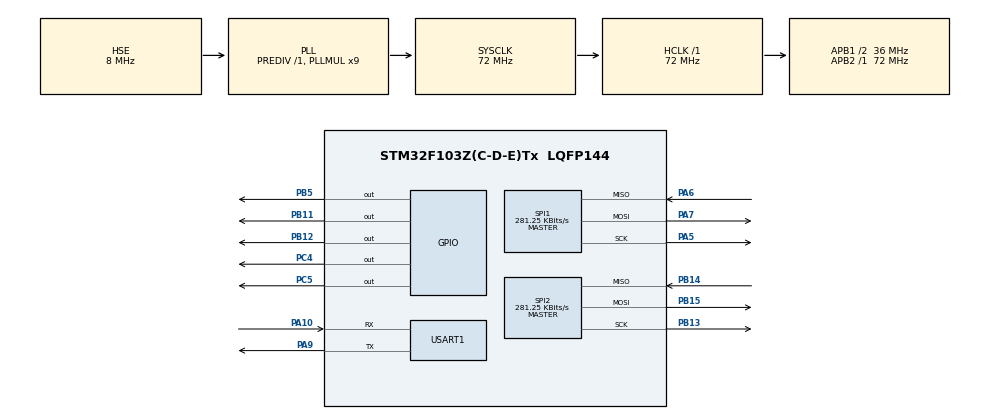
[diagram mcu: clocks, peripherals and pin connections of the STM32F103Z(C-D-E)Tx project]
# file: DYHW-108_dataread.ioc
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Mcu.Family=STM32F1
Mcu.Name=STM32F103Z(C-D-E)Tx
Mcu.Package=LQFP144
NVIC.PriorityGroup=NVIC_PRIORITYGROUP_4
OSC_IN.Mode=HSE-External-Oscillator
OSC_IN.Signal=RCC_OSC_IN
OSC_OUT.Mode=HSE-External-Oscillator
OSC_OUT.Signal=RCC_OSC_OUT
PA10.Mode=Asynchronous
PA10.Signal=USART1_RX
PA13.Mode=Serial_Wire
PA13.Signal=SYS_JTMS-SWDIO
PA14.Mode=Serial_Wire
PA14.Signal=SYS_JTCK-SWCLK
PA5.Mode=Full_Duplex_Master
PA5.Signal=SPI1_SCK
PA6.Mode=Full_Duplex_Master
PA6.Signal=SPI1_MISO
PA7.Mode=Full_Duplex_Master
PA7.Signal=SPI1_MOSI
PA9.Mode=Asynchronous
PA9.Signal=USART1_TX
PB11.Signal=GPIO_Output
PB12.Signal=GPIO_Output
PB13.Mode=Full_Duplex_Master
PB13.Signal=SPI2_SCK
PB14.Mode=Full_Duplex_Master
PB14.Signal=SPI2_MISO
PB15.Mode=Full_Duplex_Master
PB15.Signal=SPI2_MOSI
PB5.Signal=GPIO_Output
PC4.Signal=GPIO_Output
PC5.Signal=GPIO_Output
ProjectManager.HeapSize=0x200
ProjectManager.StackSize=0x400
ProjectManager.TargetToolchain=MDK-ARM V5.27
RCC.AHBFreq_Value=72000000
RCC.APB1CLKDivider=RCC_HCLK_DIV2
RCC.APB1Freq_Value=36000000
RCC.APB1TimFreq_Value=72000000
RCC.APB2Freq_Value=72000000
RCC.APB2TimFreq_Value=72000000
RCC.HCLKFreq_Value=72000000
RCC.PLLMUL=RCC_PLL_MUL9
RCC.PLLSourceVirtual=RCC_PLLSOURCE_HSE
RCC.SYSCLKFreq_VALUE=72000000
RCC.SYSCLKSource=RCC_SYSCLKSOURCE_PLLCLK
RCC.USBFreq_Value=72000000
SPI1.BaudRatePrescaler=SPI_BAUDRATEPRESCALER_256
SPI1.CLKPhase=SPI_PHASE_2EDGE
SPI1.CalculateBaudRate=281.25 KBits/s
SPI1.Direction=SPI_DIRECTION_2LINES
SPI1.Mode=SPI_MODE_MASTER
SPI1.VirtualType=VM_MASTER
SPI2.BaudRatePrescaler=SPI_BAUDRATEPRESCALER_128
SPI2.CLKPhase=SPI_PHASE_2EDGE
SPI2.CLKPolarity=SPI_POLARITY_LOW
SPI2.CRCCalculation=SPI_CRCCALCULATION_DISABLE
SPI2.CalculateBaudRate=281.25 KBits/s
SPI2.Direction=SPI_DIRECTION_2LINES
SPI2.Mode=SPI_MODE_MASTER
SPI2.VirtualType=VM_MASTER
USART1.VirtualMode=VM_ASYNC
board=custom

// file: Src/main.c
/* USER CODE BEGIN Header */
/**
  ******************************************************************************
  * @file           : main.c
  * @brief          : Main program body
  ******************************************************************************
  * @attention
  *
  * <h2><center>&copy; Copyright (c) 2022 STMicroelectronics.
  * All rights reserved.</center></h2>
  *
  * This software component is licensed by ST under BSD 3-Clause license,
  * the "License"; You may not use this file except in compliance with the
  * License. You may obtain a copy of the License at:
  *                        opensource.org/licenses/BSD-3-Clause
  *
  ******************************************************************************
  */
/* USER CODE END Header */

#include "main.h"
#include "spi.h"
#include "usart.h"
#include "gpio.h"

/* USER CODE BEGIN Includes */
#include "ads1256.h"
#include "stdio.h"
/* USER CODE END Includes */

void SystemClock_Config(void);

int main(void)
{
  /* USER CODE BEGIN 1 */
  int Adc[5];
	float Volts[4];
  /* USER CODE END 1 */

  /* MCU Configuration--------------------------------------------------------*/

  /* Reset of all peripherals, Initializes the Flash interface and the Systick. */
  HAL_Init();

  /* Configure the system clock */
  SystemClock_Config();

  /* Initialize all configured peripherals */
  MX_GPIO_Init();
  MX_SPI2_Init();
  MX_USART1_UART_Init();
  MX_SPI1_Init();
  /* USER CODE BEGIN 2 */
  ADS1256_Init_1();
	ADS1256_Init_2();
  /* USER CODE END 2 */

  /* Infinite loop */
  /* USER CODE BEGIN WHILE */
	Adc[5] =filter_2( ADS1256_MUXP_AIN2|ADS1256_MUXN_AIN3);
  while (1)
  {
    /* USER CODE END WHILE */

    /* USER CODE BEGIN 3 */
		/*��ֲɼ���ʽ*/
		Adc[0] =filter_1( ADS1256_MUXP_AIN0|ADS1256_MUXN_AIN1); //P = AIN0 ,N = AIN1 ��ַ�ʽ*/
		Adc[1] =filter_1( ADS1256_MUXP_AIN2|ADS1256_MUXN_AIN3);
		Adc[2] =filter_2( ADS1256_MUXP_AIN0|ADS1256_MUXN_AIN1);
		Adc[3] =filter_2( ADS1256_MUXP_AIN2|ADS1256_MUXN_AIN3);
		for(int i=0;i<4;i++)
		{
			Volts[i] = Adc[i]*0.000596*8.333333333-1.1;
			printf("ch%d�� %.4fN\t", i, Volts[i]);
		}
//		Adc = ADS1256ReadData( ADS1256_MUXP_AIN4|ADS1256_MUXN_AIN5); //P = AIN0 ,N = AIN1 ��ַ�ʽ*/
//		Volts = Adc*0.000596;
//		printf(" %.4fmV  ",Volts);
//		Adc = ADS1256ReadData( ADS1256_MUXP_AIN6|ADS1256_MUXN_AIN7); //P = AIN0 ,N = AIN1 ��ַ�ʽ*/
//		Volts = Adc*0.000596;
//		printf(" %.4fmV  ",Volts);
		printf("\r\n");
  }
  /* USER CODE END 3 */
}

void SystemClock_Config(void)
{
  RCC_OscInitTypeDef RCC_OscInitStruct = {0};
  RCC_ClkInitTypeDef RCC_ClkInitStruct = {0};

  /** Initializes the CPU, AHB and APB busses clocks
  */
  RCC_OscInitStruct.OscillatorType = RCC_OSCILLATORTYPE_HSE;
  RCC_OscInitStruct.HSEState = RCC_HSE_ON;
  RCC_OscInitStruct.HSEPredivValue = RCC_HSE_PREDIV_DIV1;
  RCC_OscInitStruct.HSIState = RCC_HSI_ON;
  RCC_OscInitStruct.PLL.PLLState = RCC_PLL_ON;
  RCC_OscInitStruct.PLL.PLLSource = RCC_PLLSOURCE_HSE;
  RCC_OscInitStruct.PLL.PLLMUL = RCC_PLL_MUL9;
  if (HAL_RCC_OscConfig(&RCC_OscInitStruct) != HAL_OK)
  {
    Error_Handler();
  }
  /** Initializes the CPU, AHB and APB busses clocks
  */
  RCC_ClkInitStruct.ClockType = RCC_CLOCKTYPE_HCLK|RCC_CLOCKTYPE_SYSCLK
                              |RCC_CLOCKTYPE_PCLK1|RCC_CLOCKTYPE_PCLK2;
  RCC_ClkInitStruct.SYSCLKSource = RCC_SYSCLKSOURCE_PLLCLK;
  RCC_ClkInitStruct.AHBCLKDivider = RCC_SYSCLK_DIV1;
  RCC_ClkInitStruct.APB1CLKDivider = RCC_HCLK_DIV2;
  RCC_ClkInitStruct.APB2CLKDivider = RCC_HCLK_DIV1;

  if (HAL_RCC_ClockConfig(&RCC_ClkInitStruct, FLASH_LATENCY_2) != HAL_OK)
  {
    Error_Handler();
  }
}

void Error_Handler(void)
{
}

/************************ (C) COPYRIGHT STMicroelectronics *****END OF FILE****/
